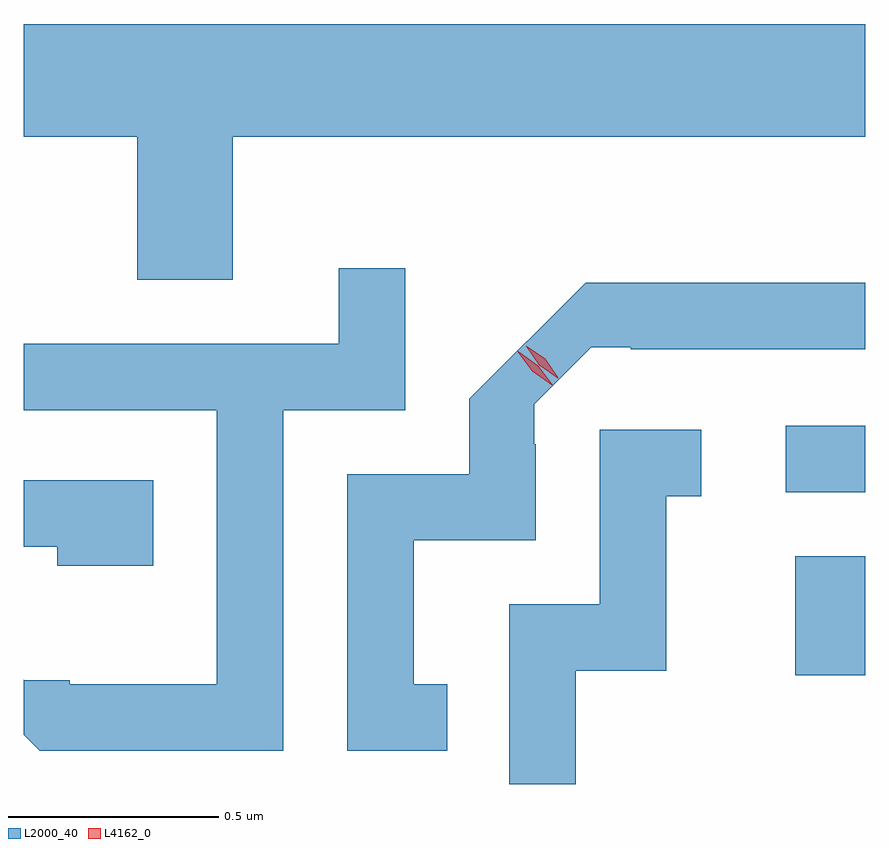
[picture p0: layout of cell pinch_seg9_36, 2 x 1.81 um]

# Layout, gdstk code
import gdstk
lib = gdstk.Library(unit=1e-6, precision=1e-09)
def R(c, l, rs):  # rectangles x0, y0, x1, y1
    for r in rs: c.add(gdstk.rectangle(r[:2], r[2:], *l))
def P(c, l, *ps):  # polygons
    for p in ps: c.add(gdstk.Polygon(p, *l))
L2000_40 = (2000, 40)
L4162_0 = (4162, 0)

pinch_seg9_36 = lib.new_cell('pinch_seg9_36')
R(pinch_seg9_36, L2000_40, [(849.446,1970.556,849.612,1970.839), (849.423,1970.991,849.612,1971.149)])
P(pinch_seg9_36, L2000_40, [(848.109,1971.836),(849.612,1971.836),(849.612,1972.104),(847.612,1972.104),(847.612,1971.836),(847.881,1971.836),(847.881,1971.496),(848.109,1971.496)],
  [(848.229,1971.186),(848.519,1971.186),(848.519,1971.523),(848.361,1971.523),(848.361,1971.344),(847.612,1971.344),(847.612,1971.186),(848.071,1971.186),(848.071,1970.534),(847.721,1970.534),(847.721,1970.544),(847.613,1970.544),(847.612,1970.545),(847.612,1970.414),(847.65,1970.376),(848.229,1970.376)],
  [(848.618,1970.534),(848.539,1970.534),(848.539,1970.876),(848.829,1970.876),(848.829,1971.105),(848.825,1971.105),(848.825,1971.2),(848.961,1971.335),(849.055,1971.335),(849.055,1971.331),(849.612,1971.331),(849.612,1971.489),(848.948,1971.489),(848.671,1971.213),(848.671,1971.034),(848.381,1971.034),(848.381,1970.376),(848.618,1970.376)],
  [(848.924,1970.566),(849.139,1970.566),(849.139,1970.981),(849.223,1970.981),(849.223,1971.139),(848.981,1971.139),(848.981,1970.724),(848.766,1970.724),(848.766,1970.297),(848.924,1970.297)],
  [(847.919,1971.019),(847.612,1971.019),(847.612,1970.861),(847.691,1970.861),(847.691,1970.816),(847.919,1970.816)])
P(pinch_seg9_36, L4162_0, [(848.869,1971.244),(848.821,1971.278),(848.786,1971.325),(848.786,1971.326),(848.787,1971.326),(848.835,1971.292),(848.869,1971.245),(848.869,1971.244)],
  [(848.881,1971.262),(848.837,1971.293),(848.806,1971.338),(848.806,1971.339),(848.806,1971.339),(848.851,1971.308),(848.882,1971.263),(848.882,1971.262)])

lib.write_gds('pinch_seg9_36.gds')
